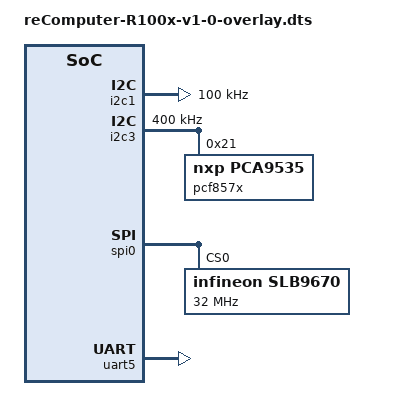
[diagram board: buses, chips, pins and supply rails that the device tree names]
/*
 * Copyright (C) 2021 Seeed Studio
 * ruiqian <ruiqian.tang@seeed.cc>
 *
 * MIT License
 *
 */
 /dts-v1/;
 /plugin/;

 #include "dt-bindings/gpio/gpio.h"

 #define LED_RED_PINS <&gpio 20 GPIO_ACTIVE_LOW>
 #define LED_GREEN_PINS <&gpio 26 GPIO_ACTIVE_LOW>
 #define LED_BLUE_PINS <&gpio 27 GPIO_ACTIVE_LOW>
 #define LED_BEEPER_PINS <&gpio 21 GPIO_ACTIVE_HIGH>

 / {
	fragment@0 {
        target-path="/";
        __overlay__ {
            hardware = "reComputer-R100x V1.0";
        };
    };

	fragment@1 {
		target = <&i2c1>;
		__overlay__ {
			clock-frequency = <100000>;
			#address-cells = <1>;
			#size-cells = <0>;
			status = "okay";
		};
	};

	fragment@2 {
		target = <&i2c3>;
		__overlay__ {
			clock-frequency = <400000>;
			#address-cells = <1>;
			#size-cells = <0>;
			status = "okay";

			pcf857x: pcf@21 {
				compatible = "nxp,pca9535";
				reg = <0x21>;
				status = "okay";

				gpio-controller;
				#gpio-cells = <2>;

				gpio-line-names =
					"LoRaWAN_SX1262_CS"	 	,"LoRaWAN_SX1262_RST",
					"LoRaWAN_SX1302_RST"	,"LTE_RESET",
					"TPM_RST"				,"gpio_pin5",
					"gpio_pin6"				,"gpio_pin7",
					"EEPROM_WP"				,"VDD_OUT_CTL",
					"VDD_5V_OUT_CTL"		,"USB2_RST_EN",
					"RS485_POWER_EN"		,"gpio_pin13",
					"gpio_pin14"			,"gpio_pin15";
					
				LoRaWAN_SX1262_CS {
					gpios = <&pcf857x 0 GPIO_ACTIVE_HIGH>;
					output-low;
					line-name = "LoRaWAN_SX1262_CS";
				};

				LoRaWAN_SX1262_RST {
					gpios = <&pcf857x 1 GPIO_ACTIVE_HIGH>;
					output-low;
					line-name = "LoRaWAN_SX1262_RST";
				};

				LoRaWAN_SX1302_RST {
					gpios = <&pcf857x 2 GPIO_ACTIVE_HIGH>;
					output-low;
					line-name = "LoRaWAN_SX1302_RST";
				};

				LTE_RESET {
					gpios = <&pcf857x 3 GPIO_ACTIVE_HIGH>;
					output-high;
					line-name = "LTE_RESET";
				};

				TPM_RST {
					gpios = <&pcf857x 4 GPIO_ACTIVE_HIGH>;
					output-high;
					line-name = "TPM_RST";
				};

				VDD_OUT_CTL {
					gpios = <&pcf857x 9 GPIO_ACTIVE_HIGH>;
					output-high;
					line-name = "VDD_OUT_CTL";
				};

				VDD_5V_OUT_CTL {
					gpios = <&pcf857x 10 GPIO_ACTIVE_HIGH>;
					output-high;
					line-name = "VDD_5V_OUT_CTL";
				};

				USB2_RST_EN {
					gpios = <&pcf857x 11 GPIO_ACTIVE_HIGH>;
					output-high;
					line-name = "USB2_RST_EN";
				};

				RS485_POWER_EN {
					gpios = <&pcf857x 12 GPIO_ACTIVE_HIGH>;
					output-high;
					line-name = "RS485_POWER_EN";
				};
			};
		};
	};

	fragment@3 {
		target = <&i2c1_pins>;
		pins2: __overlay__ {
			brcm,pins = <44 45>;
			brcm,function = <6>; /* alt 2 */
		};
	};

	fragment@4 {
		target = <&i2c3_pins>;
		__overlay__ {
			brcm,pins = <2 3>;
		};
	};

	fragment@5 {
		target = <&spi0>;
		__overlay__ {
			status = "okay";
		};
	};

	fragment@6 {
		target = <&spidev0>;
		__overlay__ {
			status = "disabled";
		};
	};

	fragment@7 {
		target = <&spi0>;
		__overlay__ {
			#address-cells = <1>;
			#size-cells = <0>;
			slb9670: slb9670@0 {
				compatible = "infineon,slb9670";
				reg = <0>;	/* CE0 */
				#address-cells = <1>;
				#size-cells = <0>;
				spi-max-frequency = <32000000>;
				status = "okay";
			};

		};
	};

	fragment@8 {
		target = <&uart2>;
		__overlay__ {
			rts-gpio = <&gpio 6 GPIO_ACTIVE_HIGH>;
		};
	};

	fragment@9 {
		target = <&uart3>;
		__overlay__ {
			rts-gpio = <&gpio 17 GPIO_ACTIVE_HIGH>;
		};
	};

	fragment@a {
		target = <&uart5>;
		__overlay__ {
			label = "RS485_3";
			linux,rs485-enabled-at-boot-time;
			rts-gpio = <&gpio 24 GPIO_ACTIVE_HIGH>;
			status = "okay";
		};
	};
};

#include "reComputer-R100x.dtsi"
